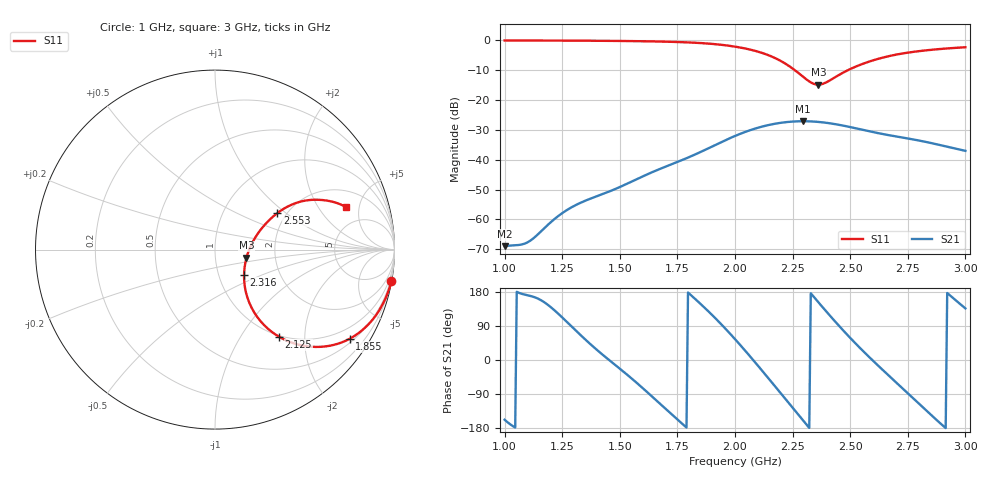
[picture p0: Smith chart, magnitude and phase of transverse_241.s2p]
! TOUCHSTONE file generated by CST MICROWAVE STUDIO
! Date and time: Tue Mar 11 13:57:58 2025
! Project name: transverse.cst
! Parameters = {Fracture=1; B=10; D=160; F=25; Feed=2.85625; L=100; M=10; R=0.384908; S=1; Theta=270; length=57.125; wave=114.25}
! Header version: 2024
! Port assignment regex: !\s*Touchstone port\s*([0-9]+)\s*=\s*(CST MWS port|CST DES external port|CST DES block port)\s*(.+)\s* \(\"(.*)\"\)(\s*mode\s*([0-9]+))?.*
! Touchstone port assignment:
! Touchstone port 1 = CST MWS port 1 ("")
! Touchstone port 2 = CST MWS port 2 ("")
# GHz S MA R 50
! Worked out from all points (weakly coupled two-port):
!   305 points, 1 GHz to 3 GHz, reference 50 ohm
!   highest |S21| = -27.10 dB at 2.296 GHz (marker M1); lowest = -69.0 dB at 1 GHz (marker M2)
!   lowest |S11| = -14.8 dB at 2.362 GHz (marker M3), VSWR 1.44, Z = 70.9 - j6.67 ohm
!   |S11| at or under -10 dB: 2.26 GHz to 2.49 GHz (229.8 MHz wide, 9.68 % of centre)
!   S12 and S22 are empty: the file has one direction only
!   S11 on the Smith chart (normalised r, x): 1 GHz: 0, -11; 1.855 GHz: 0.61, -3.22; 2.125 GHz: 0.98, -1.50; 2.316 GHz: 1.32, -0.39; 2.553 GHz: 1.79, +0.87; 3 GHz: 3.18, +3.67
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1  0.9976 -10.0  0.0003551 -157.6  0 0.0  0 0.0
1.07237  0.9969 -11.0  0.0003776 175.0  0 0.0  0 0.0
1.10526  0.9964 -11.5  0.0004238 170.0  0 0.0  0 0.0
1.23684  0.993 -13.6  0.001167 119.9  0 0.0  0 0.0
1.33553  0.9894 -15.5  0.001941 62.4  0 0.0  0 0.0
1.48026  0.9803 -18.7  0.003224 -13.2  0 0.0  0 0.0
1.67105  0.9578 -24.6  0.006924 -113.5  0 0.0  0 0.0
1.85526  0.9003 -33.5  0.01373 145.3  0 0.0  0 0.0
2  0.7861 -43.6  0.025 55.1  0 0.0  0 0.0
2.06579  0.7012 -48.9  0.03125 9.3  0 0.0  0 0.0
2.125  0.603 -53.7  0.03651 -33.5  0 0.0  0 0.0
2.21053  0.4259 -58.0  0.04213 -96.7  0 0.0  0 0.0
2.29605  0.2446 -48.1  0.04414 -160.0  0 0.0  0 0.0
2.31579  0.2136 -40.7  0.04403 -174.4  0 0.0  0 0.0
2.33553  0.1919 -30.7  0.04371 171.3  0 0.0  0 0.0
2.36184  0.1812 -14.5  0.04298 152.3  0 0.0  0 0.0
2.39474  0.1967 4.0  0.04162 129.1  0 0.0  0 0.0
2.45395  0.2669 22.2  0.03827 88.5  0 0.0  0 0.0
2.55263  0.4023 30.3  0.03177 25.6  0 0.0  0 0.0
2.67105  0.548 29.2  0.02563 -43.2  0 0.0  0 0.0
2.82895  0.6812 23.6  0.01986 -132.7  0 0.0  0 0.0
3  0.7673 18.0  0.01409 136.2  0 0.0  0 0.0
